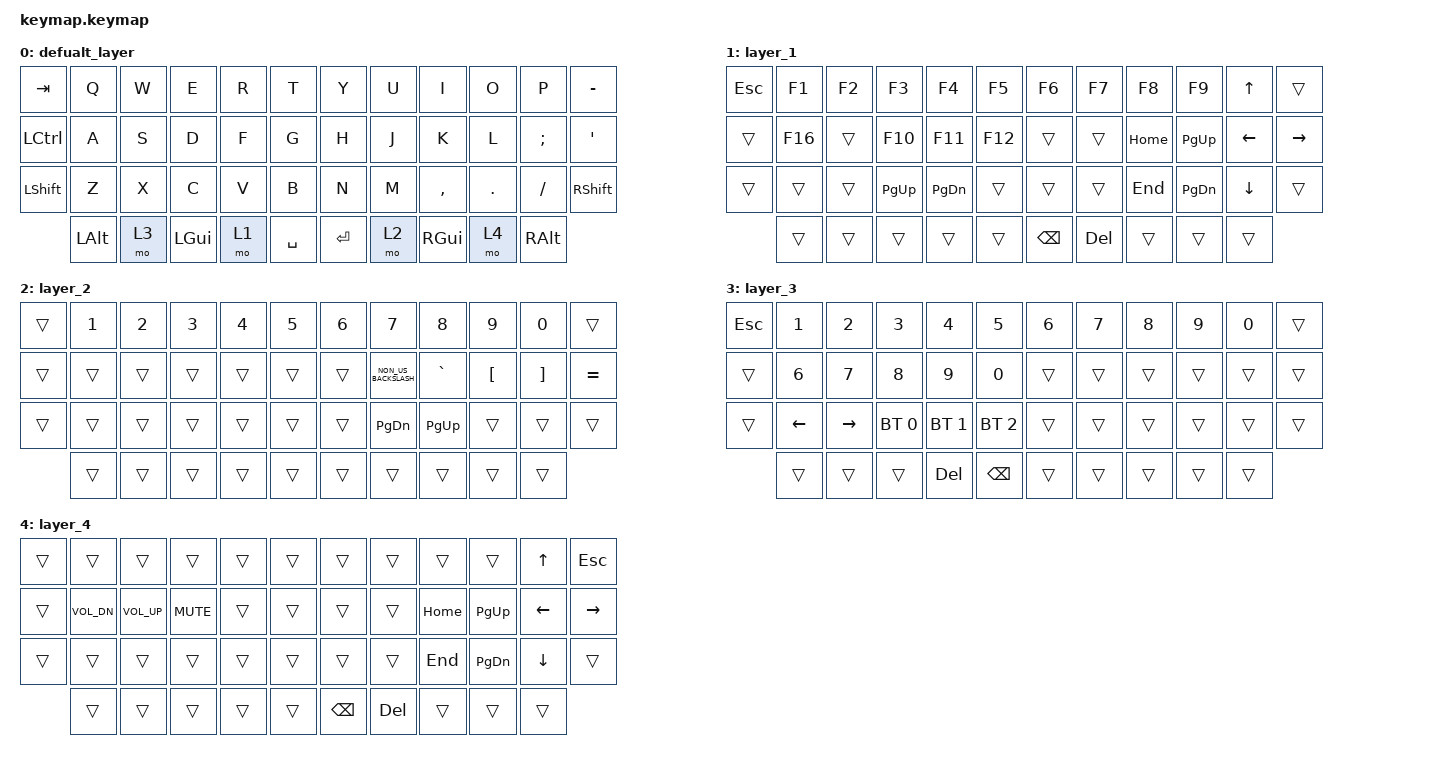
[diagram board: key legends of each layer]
#include <behaviors.dtsi>
#include <dt-bindings/zmk/bt.h>
#include <dt-bindings/zmk/keys.h>

/ {
    keymap {
        compatible = "zmk,keymap";

        defualt_layer {
            bindings = <
&kp TAB           &kp Q         &kp W  &kp E         &kp R  &kp T      &kp Y      &kp U  &kp I          &kp O       &kp P          &kp MINUS
&kp LEFT_CONTROL  &kp A         &kp S  &kp D         &kp F  &kp G      &kp H      &kp J  &kp K          &kp L       &kp SEMICOLON  &kp SQT
&kp LEFT_SHIFT    &kp Z         &kp X  &kp C         &kp V  &kp B      &kp N      &kp M  &kp COMMA      &kp PERIOD  &kp SLASH      &kp RIGHT_SHIFT
                  &kp LEFT_ALT  &mo 3  &kp LEFT_GUI  &mo 1  &kp SPACE  &kp ENTER  &mo 2  &kp RIGHT_GUI  &mo 4       &kp RIGHT_ALT
            >;
        };

        layer_1 {
            bindings = <
&kp ESCAPE  &kp F1   &kp F2  &kp F3       &kp F4         &kp F5   &kp F6         &kp F7      &kp F8    &kp F9         &kp UP    &trans
&trans      &kp F16  &trans  &kp F10      &kp F11        &kp F12  &trans         &trans      &kp HOME  &kp PAGE_UP    &kp LEFT  &kp RIGHT
&trans      &trans   &trans  &kp PAGE_UP  &kp PAGE_DOWN  &trans   &trans         &trans      &kp END   &kp PAGE_DOWN  &kp DOWN  &trans
            &trans   &trans  &trans       &trans         &trans   &kp BACKSPACE  &kp DELETE  &trans    &trans         &trans
            >;
        };

        layer_2 {
            bindings = <
&trans  &kp NUMBER_1  &kp NUMBER_2  &kp NUMBER_3  &kp NUMBER_4  &kp N5  &kp NUMBER_6  &kp N7                &kp N8       &kp N9            &kp N0             &trans
&trans  &trans        &trans        &trans        &trans        &trans  &trans        &kp NON_US_BACKSLASH  &kp GRAVE    &kp LEFT_BRACKET  &kp RIGHT_BRACKET  &kp EQUAL
&trans  &trans        &trans        &trans        &trans        &trans  &trans        &kp PAGE_DOWN         &kp PAGE_UP  &trans            &trans             &trans
        &trans        &trans        &trans        &trans        &trans  &trans        &trans                &trans       &trans            &trans
            >;
        };

        layer_3 {
            bindings = <
&kp ESCAPE  &kp NUMBER_1  &kp NUMBER_2  &kp NUMBER_3  &kp NUMBER_4  &kp N5         &kp NUMBER_6  &kp N7  &kp N8  &kp N9  &kp N0  &trans
&trans      &kp NUMBER_6  &kp N7        &kp N8        &kp N9        &kp N0         &trans        &trans  &trans  &trans  &trans  &trans
&trans      &kp LEFT      &kp RIGHT     &bt BT_SEL 0  &bt BT_SEL 1  &bt BT_SEL 2   &trans        &trans  &trans  &trans  &trans  &trans
            &trans        &trans        &trans        &kp DELETE    &kp BACKSPACE  &trans        &trans  &trans  &trans  &trans
            >;
        };

        layer_4 {
            bindings = <
&trans  &trans        &trans           &trans      &trans  &trans  &trans         &trans      &trans    &trans         &kp UP    &kp ESCAPE
&trans  &kp C_VOL_DN  &kp C_VOLUME_UP  &kp K_MUTE  &trans  &trans  &trans         &trans      &kp HOME  &kp PAGE_UP    &kp LEFT  &kp RIGHT
&trans  &trans        &trans           &trans      &trans  &trans  &trans         &trans      &kp END   &kp PAGE_DOWN  &kp DOWN  &trans
        &trans        &trans           &trans      &trans  &trans  &kp BACKSPACE  &kp DELETE  &trans    &trans         &trans
            >;
        };
    };
};
